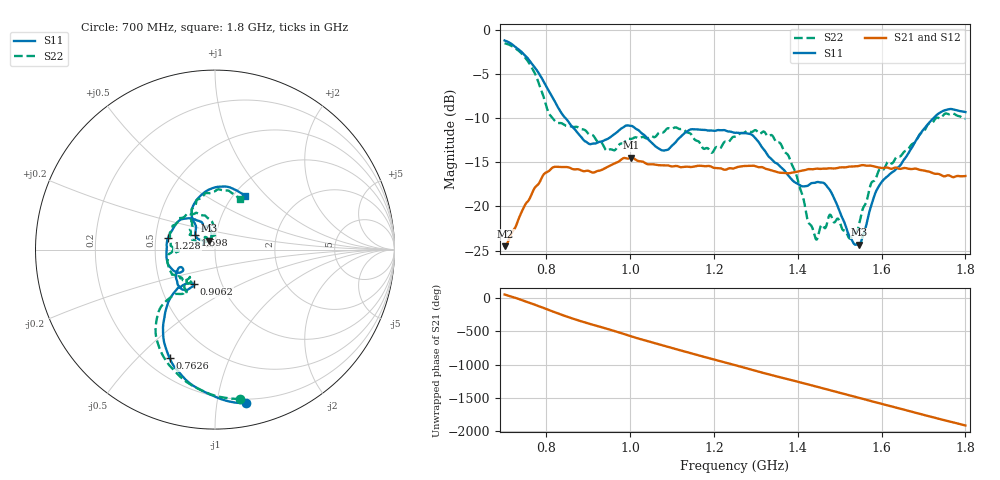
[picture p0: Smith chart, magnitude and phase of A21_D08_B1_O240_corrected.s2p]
! Created with skrf 1.9.0 (http://scikit-rf.org).
# Hz S RI R 50.0
!freq ReS11 ImS11 ReS21 ImS21 ReS12 ImS12 ReS22 ImS22
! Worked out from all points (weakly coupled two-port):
!   1601 points, 700 MHz to 1.8 GHz, reference 50 ohm
!   highest |S21| = -14.47 dB at 1.002 GHz (marker M1); lowest = -24.5 dB at 701.4 MHz (marker M2)
!   lowest |S11| = -24.3 dB at 1.546 GHz (marker M3), VSWR 1.13, Z = 46.4 + j4.59 ohm
!   |S11| at or under -10 dB: 845.7 MHz to 1.723 GHz (877.7 MHz wide, 68.3 % of centre)
!   |S22| runs from -23.8 to -1.5 dB; largest |S21 - S12| = 0.0037
!   S11 on the Smith chart (normalised r, x): 700 MHz: 0.17, -1.21; 762.6 MHz: 0.29, -0.63; 906.2 MHz: 0.74, -0.30; 1.228 GHz: 0.58, +0.08; 1.598 GHz: 0.79, +0.13; 1.8 GHz: 1.12, +0.76
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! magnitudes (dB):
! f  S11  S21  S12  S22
! 700 MHz  -1.2  -24.5  -24.3  -1.5
! 701.4 MHz  -1.2  -24.5  -24.1  -1.5
! 762.6 MHz  -3.7  -18.8  -18.8  -4.1
! 812.8 MHz  -7.5  -15.7  -15.6  -9.9
! 883.6 MHz  -12.2  -15.9  -15.8  -11.2
! 906.2 MHz  -12.9  -16.1  -16.1  -11.9
! 945.4 MHz  -12.4  -15.5  -15.5  -13.7
! 1.002 GHz  -10.9  -14.5  -14.6  -12.3
! 1.067 GHz  -13.4  -15.3  -15.3  -11.7
! 1.194 GHz  -11.4  -15.5  -15.5  -13.9
! 1.228 GHz  -11.4  -15.8  -15.7  -12.6
! 1.25 GHz  -11.6  -15.6  -15.6  -12.1
! 1.358 GHz  -15.5  -16.2  -16.1  -12.8
! 1.434 GHz  -17.3  -15.8  -15.8  -22.3
! 1.445 GHz  -17.2  -15.7  -15.7  -23.7
! 1.472 GHz  -17.9  -15.7  -15.7  -21.4
! 1.524 GHz  -23.5  -15.5  -15.5  -23.6
! 1.546 GHz  -24.3  -15.4  -15.4  -22.0
! 1.598 GHz  -17.4  -15.6  -15.6  -15.7
! 1.617 GHz  -16.4  -15.6  -15.6  -14.9
! 1.733 GHz  -9.6  -16.3  -16.3  -9.9
! 1.8 GHz  -9.3  -16.5  -16.5  -10.1
